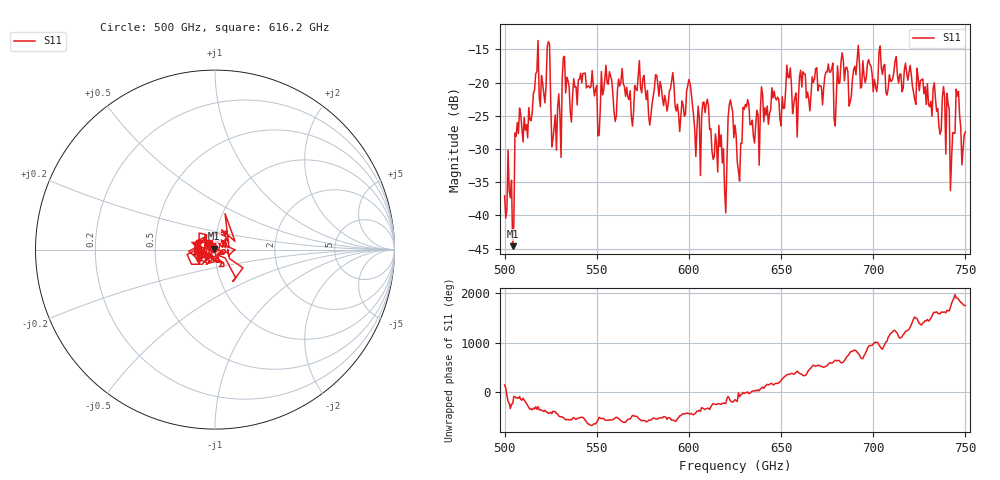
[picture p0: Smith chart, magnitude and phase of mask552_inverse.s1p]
!Created with skrf (http://scikit-rf.org).
# GHz S MA R 50.0
!freq magS11 angS11
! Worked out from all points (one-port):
!   401 points, 500 GHz to 750 GHz, reference 50 ohm
!   lowest |S11| = -44.6 dB at 504.4 GHz (marker M1), VSWR 1.01, Z = 49.6 + j0.431 ohm
!   |S11| at or under -10 dB: start of sweep to end of sweep
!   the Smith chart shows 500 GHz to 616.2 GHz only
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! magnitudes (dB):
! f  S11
! 500 GHz  -37.1
! 504.4 GHz  -44.6
! 506.9 GHz  -26.0
! 513.8 GHz  -25.6
! 516.9 GHz  -18.7
! 523.8 GHz  -13.8
! 526.9 GHz  -26.8
! 531.2 GHz  -19.4
! 562.5 GHz  -20.5
! 590.6 GHz  -19.8
! 593.8 GHz  -23.2
! 600 GHz  -19.5
! 605 GHz  -23.5
! 609.4 GHz  -23.2
! 619.4 GHz  -36.4
! 622.5 GHz  -22.6
! 625 GHz  -26.4
! 627.5 GHz  -34.8
! 630.6 GHz  -23.3
! 636.9 GHz  -24.2
! 656.2 GHz  -24.7
! 687.5 GHz  -22.9
! 691.2 GHz  -16.7
! 718.8 GHz  -19.6
! 739.4 GHz  -30.8
! 743.1 GHz  -27.5
! 745.6 GHz  -22.0
! 750 GHz  -27.4
